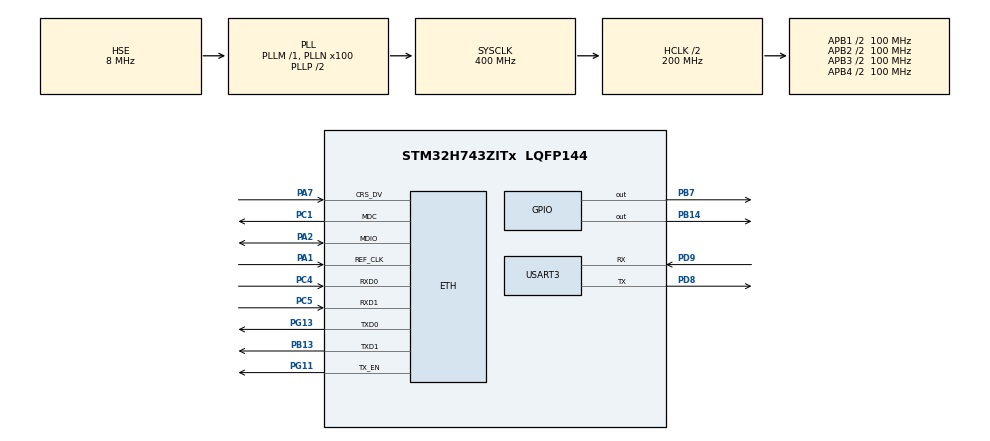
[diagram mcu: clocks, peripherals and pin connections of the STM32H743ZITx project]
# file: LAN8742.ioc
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CORTEX_M7.AccessPermission-Cortex_Memory_Protection_Unit_Region0_Settings=MPU_REGION_NO_ACCESS
CORTEX_M7.BaseAddress-Cortex_Memory_Protection_Unit_Region0_Settings=0x30040000
CORTEX_M7.BaseAddress-Cortex_Memory_Protection_Unit_Region1_Settings=0x30044000
CORTEX_M7.CPU_DCache=Enabled
CORTEX_M7.CPU_ICache=Enabled
CORTEX_M7.DisableExec-Cortex_Memory_Protection_Unit_Region1_Settings=MPU_INSTRUCTION_ACCESS_DISABLE
CORTEX_M7.Enable-Cortex_Memory_Protection_Unit_Region0_Settings=MPU_REGION_ENABLE
CORTEX_M7.Enable-Cortex_Memory_Protection_Unit_Region1_Settings=MPU_REGION_ENABLE
CORTEX_M7.IsBufferable-Cortex_Memory_Protection_Unit_Region0_Settings=MPU_ACCESS_BUFFERABLE
CORTEX_M7.IsCacheable-Cortex_Memory_Protection_Unit_Region1_Settings=MPU_ACCESS_CACHEABLE
CORTEX_M7.MPU_Control=MPU_HARDFAULT_NMI
CORTEX_M7.Size-Cortex_Memory_Protection_Unit_Region0_Settings=MPU_REGION_SIZE_256B
CORTEX_M7.Size-Cortex_Memory_Protection_Unit_Region1_Settings=MPU_REGION_SIZE_16KB
ETH.MediaInterface=HAL_ETH_RMII_MODE
ETH.RxBuffLen=1528
LWIP.BSP.number=1
LWIP.CHECKSUM_GEN_TCP=1
LWIP.GATEWAY_ADDRESS=192.168.000.001
LWIP.IP_ADDRESS=192.168.000.240
LWIP.LWIP_DHCP=0
LWIP.LWIP_HTTPD=0
LWIP.LWIP_NETIF_LINK_CALLBACK=1
LWIP.LWIP_NETIF_STATUS_CALLBACK=1
LWIP.LWIP_STATS=1
LWIP.NETMASK_ADDRESS=255.255.255.000
LWIP.Version=v2.0.3_Cube
LWIP0.BSP.STBoard=false
LWIP0.BSP.api=BSP_COMPONENT_DRIVER
LWIP0.BSP.component=LAN8742
LWIP0.BSP.i2caddr=0
LWIP0.BSP.instance=LAN8742
LWIP0.BSP.name=Driver_PHY
LWIP0.BSP.solution=LAN8742
Mcu.Family=STM32H7
Mcu.Name=STM32H743ZITx
Mcu.Package=LQFP144
NVIC.PriorityGroup=NVIC_PRIORITYGROUP_4
PA1.GPIO_Speed=GPIO_SPEED_FREQ_HIGH
PA1.Mode=RMII
PA1.Signal=ETH_REF_CLK
PA13\ (JTMS/SWDIO).Mode=Serial_Wire
PA13\ (JTMS/SWDIO).Signal=SYS_JTMS-SWDIO
PA14\ (JTCK/SWCLK).Mode=Serial_Wire
PA14\ (JTCK/SWCLK).Signal=SYS_JTCK-SWCLK
PA2.GPIO_Speed=GPIO_SPEED_FREQ_HIGH
PA2.Mode=RMII
PA2.Signal=ETH_MDIO
PA7.GPIO_Speed=GPIO_SPEED_FREQ_HIGH
PA7.Mode=RMII
PA7.Signal=ETH_CRS_DV
PB13.GPIO_Speed=GPIO_SPEED_FREQ_HIGH
PB13.Mode=RMII
PB13.Signal=ETH_TXD1
PB14.GPIO_PuPd=GPIO_PULLUP
PB14.GPIO_Speed=GPIO_SPEED_FREQ_HIGH
PB14.PinState=GPIO_PIN_SET
PB14.Signal=GPIO_Output
PB7.GPIO_PuPd=GPIO_PULLUP
PB7.GPIO_Speed=GPIO_SPEED_FREQ_HIGH
PB7.PinState=GPIO_PIN_SET
PB7.Signal=GPIO_Output
PC1.Mode=RMII
PC1.Signal=ETH_MDC
PC14-OSC32_IN\ (OSC32_IN).Mode=LSE-External-Oscillator
PC14-OSC32_IN\ (OSC32_IN).Signal=RCC_OSC32_IN
PC15-OSC32_OUT\ (OSC32_OUT).Mode=LSE-External-Oscillator
PC15-OSC32_OUT\ (OSC32_OUT).Signal=RCC_OSC32_OUT
PC4.GPIO_Speed=GPIO_SPEED_FREQ_HIGH
PC4.Mode=RMII
PC4.Signal=ETH_RXD0
PC5.GPIO_Speed=GPIO_SPEED_FREQ_HIGH
PC5.Mode=RMII
PC5.Signal=ETH_RXD1
PD8.Mode=Asynchronous
PD8.Signal=USART3_TX
PD9.Mode=Asynchronous
PD9.Signal=USART3_RX
PG11.GPIO_Speed=GPIO_SPEED_FREQ_HIGH
PG11.Mode=RMII
PG11.Signal=ETH_TX_EN
PG13.GPIO_Speed=GPIO_SPEED_FREQ_HIGH
PG13.Mode=RMII
PG13.Signal=ETH_TXD0
PH0-OSC_IN\ (PH0).Mode=HSE-External-Oscillator
PH0-OSC_IN\ (PH0).Signal=RCC_OSC_IN
PH1-OSC_OUT\ (PH1).Mode=HSE-External-Oscillator
PH1-OSC_OUT\ (PH1).Signal=RCC_OSC_OUT
ProjectManager.HeapSize=0x200
ProjectManager.StackSize=0x4000
ProjectManager.TargetToolchain=MDK-ARM V5
RCC.ADCFreq_Value=16125000
RCC.APB1Freq_Value=100000000
RCC.APB2Freq_Value=100000000
RCC.APB3Freq_Value=100000000
RCC.APB4Freq_Value=100000000
RCC.CortexFreq_Value=400000000
RCC.D1PPRE=RCC_APB3_DIV2
RCC.D2PPRE1=RCC_APB1_DIV2
RCC.D2PPRE2=RCC_APB2_DIV2
RCC.D3PPRE=RCC_APB4_DIV2
RCC.DIVM1=1
RCC.DIVN1=100
RCC.HCLKFreq_Value=200000000
RCC.HPRE=RCC_HCLK_DIV2
RCC.HSE_VALUE=8000000
RCC.HSIDiv=RCC_PLLSAIDIVR_8
RCC.PLLSourceVirtual=RCC_PLLSOURCE_HSE
RCC.SYSCLKFreq_VALUE=400000000
RCC.SYSCLKSource=RCC_SYSCLKSOURCE_PLLCLK
RCC.USBFreq_Value=400000000
USART3.VirtualMode-Asynchronous=VM_ASYNC
VP_LWIP_VS_Enabled.Mode=Enabled
board=custom

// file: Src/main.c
/* USER CODE BEGIN Header */
/**
  ******************************************************************************
  * @file           : main.c
  * @brief          : Main program body
  ******************************************************************************
  * This notice applies to any and all portions of this file
  * that are not between comment pairs USER CODE BEGIN and
  * USER CODE END. Other portions of this file, whether
  * inserted by the user or by software development tools
  * are owned by their respective copyright owners.
  *
  * Copyright (c) 2018 STMicroelectronics International N.V.
  * All rights reserved.
  *
  * Redistribution and use in source and binary forms, with or without
  * modification, are permitted, provided that the following conditions are met:
  *
  * 1. Redistribution of source code must retain the above copyright notice,
  *    this list of conditions and the following disclaimer.
  * 2. Redistributions in binary form must reproduce the above copyright notice,
  *    this list of conditions and the following disclaimer in the documentation
  *    and/or other materials provided with the distribution.
  * 3. Neither the name of STMicroelectronics nor the names of other
  *    contributors to this software may be used to endorse or promote products
  *    derived from this software without specific written permission.
  * 4. This software, including modifications and/or derivative works of this
  *    software, must execute solely and exclusively on microcontroller or
  *    microprocessor devices manufactured by or for STMicroelectronics.
  * 5. Redistribution and use of this software other than as permitted under
  *    this license is void and will automatically terminate your rights under
  *    this license.
  *
  * THIS SOFTWARE IS PROVIDED BY STMICROELECTRONICS AND CONTRIBUTORS "AS IS"
  * AND ANY EXPRESS, IMPLIED OR STATUTORY WARRANTIES, INCLUDING, BUT NOT
  * LIMITED TO, THE IMPLIED WARRANTIES OF MERCHANTABILITY, FITNESS FOR A
  * PARTICULAR PURPOSE AND NON-INFRINGEMENT OF THIRD PARTY INTELLECTUAL PROPERTY
  * RIGHTS ARE DISCLAIMED TO THE FULLEST EXTENT PERMITTED BY LAW. IN NO EVENT
  * SHALL STMICROELECTRONICS OR CONTRIBUTORS BE LIABLE FOR ANY DIRECT, INDIRECT,
  * INCIDENTAL, SPECIAL, EXEMPLARY, OR CONSEQUENTIAL DAMAGES (INCLUDING, BUT NOT
  * LIMITED TO, PROCUREMENT OF SUBSTITUTE GOODS OR SERVICES; LOSS OF USE, DATA,
  * OR PROFITS; OR BUSINESS INTERRUPTION) HOWEVER CAUSED AND ON ANY THEORY OF
  * LIABILITY, WHETHER IN CONTRACT, STRICT LIABILITY, OR TORT (INCLUDING
  * NEGLIGENCE OR OTHERWISE) ARISING IN ANY WAY OUT OF THE USE OF THIS SOFTWARE,
  * EVEN IF ADVISED OF THE POSSIBILITY OF SUCH DAMAGE.
  *
  ******************************************************************************
  */
/* USER CODE END Header */

#include "main.h"
#include "lwip.h"
#include "usart.h"
#include "gpio.h"
#include "debug.h"
#include "tcpdemo.h"

void SystemClock_Config(void);
static void MPU_Config(void);

/* USER CODE BEGIN 0 */
/**
  * @brief  Configure the MPU attributes
  * @param  None
  * @retval None
  */
static void MPU_Config(void)
{
  MPU_Region_InitTypeDef MPU_InitStruct;

  /* Disable the MPU */
  HAL_MPU_Disable();

  /* Configure the MPU attributes as Device not cacheable
     for ETH DMA descriptors */
  MPU_InitStruct.Enable = MPU_REGION_ENABLE;
  MPU_InitStruct.BaseAddress = 0x30040000;
  MPU_InitStruct.Size = MPU_REGION_SIZE_256B;
  MPU_InitStruct.AccessPermission = MPU_REGION_FULL_ACCESS;
  MPU_InitStruct.IsBufferable = MPU_ACCESS_BUFFERABLE;
  MPU_InitStruct.IsCacheable = MPU_ACCESS_NOT_CACHEABLE;
  MPU_InitStruct.IsShareable = MPU_ACCESS_NOT_SHAREABLE;
  MPU_InitStruct.Number = MPU_REGION_NUMBER0;
  MPU_InitStruct.TypeExtField = MPU_TEX_LEVEL0;
  MPU_InitStruct.SubRegionDisable = 0x00;
  MPU_InitStruct.DisableExec = MPU_INSTRUCTION_ACCESS_ENABLE;

  HAL_MPU_ConfigRegion(&MPU_InitStruct);

  /* Configure the MPU attributes as Cacheable write through
     for LwIP RAM heap which contains the Tx buffers */
  MPU_InitStruct.Enable = MPU_REGION_ENABLE;
  MPU_InitStruct.BaseAddress = 0x30044000;
  MPU_InitStruct.Size = MPU_REGION_SIZE_16KB;
  MPU_InitStruct.AccessPermission = MPU_REGION_FULL_ACCESS;
  MPU_InitStruct.IsBufferable = MPU_ACCESS_NOT_BUFFERABLE;
  MPU_InitStruct.IsCacheable = MPU_ACCESS_CACHEABLE;
  MPU_InitStruct.IsShareable = MPU_ACCESS_NOT_SHAREABLE;
  MPU_InitStruct.Number = MPU_REGION_NUMBER1;
  MPU_InitStruct.TypeExtField = MPU_TEX_LEVEL0;
  MPU_InitStruct.SubRegionDisable = 0x00;
  MPU_InitStruct.DisableExec = MPU_INSTRUCTION_ACCESS_ENABLE;

  HAL_MPU_ConfigRegion(&MPU_InitStruct);

  /* Enable the MPU */
  HAL_MPU_Enable(MPU_PRIVILEGED_DEFAULT);
}

/* USER CODE END 0 */

int main(void)
{
  /* USER CODE BEGIN 1 */
//	(*(__IO uint32_t*)0xE000EF9c = 1UL<<2);
	MPU_Config();
  /* USER CODE END 1 */

  /* MPU Configuration--------------------------------------------------------*/
  MPU_Config();

  /* Enable I-Cache---------------------------------------------------------*/
  SCB_EnableICache();

  /* Enable D-Cache---------------------------------------------------------*/
  SCB_EnableDCache();

  /* MCU Configuration--------------------------------------------------------*/

  /* Reset of all peripherals, Initializes the Flash interface and the Systick. */
  HAL_Init();

  /* Configure the system clock */
  SystemClock_Config();

  /* Initialize all configured peripherals */
  MX_GPIO_Init();
  MX_LWIP_Init();
  MX_USART3_UART_Init();
  /* USER CODE BEGIN 2 */
	debug_printf("this is a udp test\n");

  /* USER CODE END 2 */
	tcp_server_init();
  /* Infinite loop */
  while (1)
  {
	MX_LWIP_Process();
  }
}

void SystemClock_Config(void)
{
  RCC_OscInitTypeDef RCC_OscInitStruct = {0};
  RCC_ClkInitTypeDef RCC_ClkInitStruct = {0};
  RCC_PeriphCLKInitTypeDef PeriphClkInitStruct = {0};

  /**Supply configuration update enable
  */
  MODIFY_REG(PWR->CR3, PWR_CR3_SCUEN, 0);
  /**Configure the main internal regulator output voltage
  */
  __HAL_PWR_VOLTAGESCALING_CONFIG(PWR_REGULATOR_VOLTAGE_SCALE1);

  while ((PWR->D3CR & (PWR_D3CR_VOSRDY)) != PWR_D3CR_VOSRDY)
  {

  }
  /**Initializes the CPU, AHB and APB busses clocks
  */
  RCC_OscInitStruct.OscillatorType = RCC_OSCILLATORTYPE_HSE;
  RCC_OscInitStruct.HSEState = RCC_HSE_ON;
  RCC_OscInitStruct.PLL.PLLState = RCC_PLL_ON;
  RCC_OscInitStruct.PLL.PLLSource = RCC_PLLSOURCE_HSE;
  RCC_OscInitStruct.PLL.PLLM = 1;
  RCC_OscInitStruct.PLL.PLLN = 100;
  RCC_OscInitStruct.PLL.PLLP = 2;
  RCC_OscInitStruct.PLL.PLLQ = 2;
  RCC_OscInitStruct.PLL.PLLR = 2;
  RCC_OscInitStruct.PLL.PLLRGE = RCC_PLL1VCIRANGE_3;
  RCC_OscInitStruct.PLL.PLLVCOSEL = RCC_PLL1VCOWIDE;
  RCC_OscInitStruct.PLL.PLLFRACN = 0;
  if (HAL_RCC_OscConfig(&RCC_OscInitStruct) != HAL_OK)
  {
    Error_Handler();
  }
  /**Initializes the CPU, AHB and APB busses clocks
  */
  RCC_ClkInitStruct.ClockType = RCC_CLOCKTYPE_HCLK|RCC_CLOCKTYPE_SYSCLK
                              |RCC_CLOCKTYPE_PCLK1|RCC_CLOCKTYPE_PCLK2
                              |RCC_CLOCKTYPE_D3PCLK1|RCC_CLOCKTYPE_D1PCLK1;
  RCC_ClkInitStruct.SYSCLKSource = RCC_SYSCLKSOURCE_PLLCLK;
  RCC_ClkInitStruct.SYSCLKDivider = RCC_SYSCLK_DIV1;
  RCC_ClkInitStruct.AHBCLKDivider = RCC_HCLK_DIV2;
  RCC_ClkInitStruct.APB3CLKDivider = RCC_APB3_DIV2;
  RCC_ClkInitStruct.APB1CLKDivider = RCC_APB1_DIV2;
  RCC_ClkInitStruct.APB2CLKDivider = RCC_APB2_DIV2;
  RCC_ClkInitStruct.APB4CLKDivider = RCC_APB4_DIV2;

  if (HAL_RCC_ClockConfig(&RCC_ClkInitStruct, FLASH_LATENCY_2) != HAL_OK)
  {
    Error_Handler();
  }
  PeriphClkInitStruct.PeriphClockSelection = RCC_PERIPHCLK_USART3;
  PeriphClkInitStruct.Usart234578ClockSelection = RCC_USART234578CLKSOURCE_D2PCLK1;
  if (HAL_RCCEx_PeriphCLKConfig(&PeriphClkInitStruct) != HAL_OK)
  {
    Error_Handler();
  }
}

void Error_Handler(void)
{
}

/************************ (C) COPYRIGHT STMicroelectronics *****END OF FILE****/
